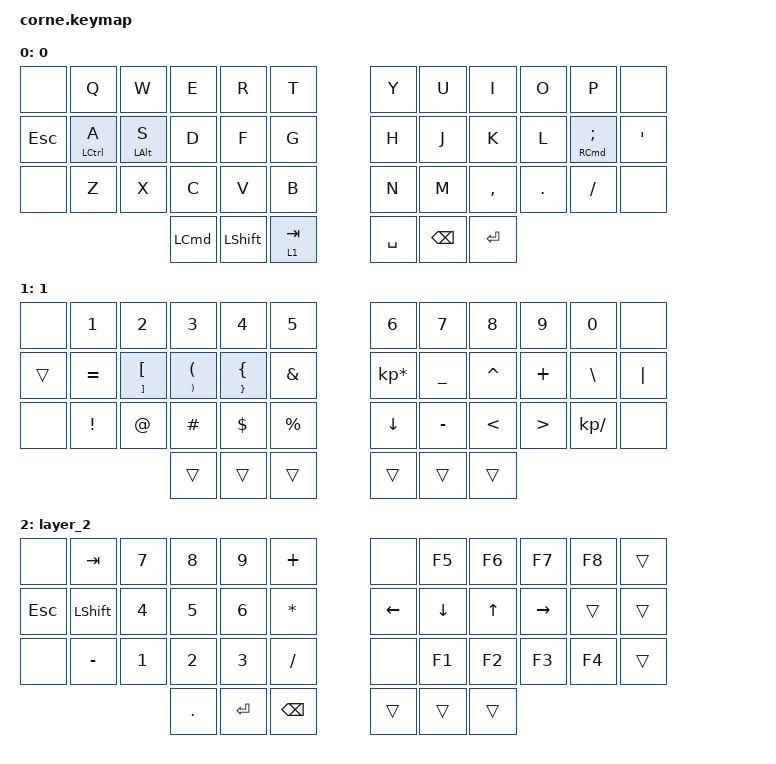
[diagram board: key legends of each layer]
/*
 * Copyright (c) 2020 The ZMK Contributors
 *
 * SPDX-License-Identifier: MIT
 */

#include <behaviors.dtsi>
#include <dt-bindings/zmk/keys.h>

/ {
    combos {
        compatible = "zmk,combos";

        leftBrace {
            bindings = <&kp LEFT_BRACE>;
            key-positions = <15 16>;
        };

        rightBrace {
            bindings = <&kp RIGHT_BRACE>;
            key-positions = <19 20>;
        };

        leftParenthesis {
            bindings = <&kp LEFT_PARENTHESIS>;
            key-positions = <15 14>;
        };

        rightParenthesis {
            bindings = <&kp RIGHT_PARENTHESIS>;
            key-positions = <20 21>;
        };

        leftBracket {
            bindings = <&kp LEFT_BRACKET>;
            key-positions = <13 14>;
        };

        rightBracket {
            bindings = <&kp RIGHT_BRACKET>;
            key-positions = <22 21>;
        };

        maximizeWindow {
            bindings = <&kp LC(LA(ENTER))>;
            key-positions = <1 2 3 4>;
        };

        leftTwoThirds {
            bindings = <&kp LC(LA(E))>;
            key-positions = <2 3 1>;
        };

        leftThird {
            bindings = <&kp LC(LA(D))>;
            key-positions = <1 2>;
        };

        rightTwoThirds {
            bindings = <&kp LC(LA(T))>;
            key-positions = <4 3 2>;
        };

        rightThird {
            bindings = <&kp LC(LA(G))>;
            key-positions = <3 4>;
        };

        leftHalf {
            bindings = <&kp LC(LA(LEFT_ARROW))>;
            key-positions = <25 26>;
        };

        rightHalf {
            bindings = <&kp LC(LA(RIGHT_ARROW))>;
            key-positions = <28 27>;
        };

        showDesktop {
            bindings = <&kp F11>;
            key-positions = <7 8 9 10>;
        };

        desktopLeft {
            bindings = <&kp LG(LEFT_ARROW)>;
            key-positions = <8 7>;
        };

        desktopRight {
            bindings = <&kp LG(RIGHT_ARROW)>;
            key-positions = <9 10>;
        };
    };

    behaviors {
        holdtap: holdtap {
            compatible = "zmk,behavior-hold-tap";
            label = "HOLDTAP";
            bindings = <&kp>, <&kp>;

            #binding-cells = <2>;
            tapping-term-ms = <200>;
            flavor = "tap-preferred";
        };

        layertap: layertap {
            compatible = "zmk,behavior-hold-tap";
            label = "LAYERTAP";
            #binding-cells = <2>;
            tapping-term-ms = <200>;
            flavor = "balanced";
            bindings = <&mo>, <&kp>;
        };

        longht: longht {
            compatible = "zmk,behavior-hold-tap";
            label = "LONGHT";
            bindings = <&kp>, <&kp>;

            #binding-cells = <2>;
            flavor = "balanced";
            tapping-term-ms = <400>;
        };
    };

    keymap {
        compatible = "zmk,keymap";

        base_layer {
            // -----------------------------------------------------------------------------------------
            // |  TAB |  Q  |  W  |  E  |  R  |  T  |   |  Y  |  U   |  I  |  O  |  P  | BKSP |
            // | CTRL |  A  |  S  |  D  |  F  |  G  |   |  H  |  J   |  K  |  L  |  ;  |  '   |
            // | SHFT |  Z  |  X  |  C  |  V  |  B  |   |  N  |  M   |  ,  |  .  |  /  | ESC  |
            //                    | GUI | LWR | SPC |   | ENT | RSE  | ALT |

            display-name = "0";
            bindings = <
&none    &kp Q                   &kp W               &kp E             &kp R           &kp T              &kp Y      &kp U          &kp I      &kp O    &kp P                            &none
&kp ESC  &longht LEFT_CONTROL A  &longht LEFT_ALT S  &kp D             &kp F           &kp G              &kp H      &kp J          &kp K      &kp L    &longht RIGHT_COMMAND SEMICOLON  &kp SINGLE_QUOTE
&none    &kp Z                   &kp X               &kp C             &kp V           &kp B              &kp N      &kp M          &kp COMMA  &kp DOT  &kp SLASH                        &none
                                                     &kp LEFT_COMMAND  &kp LEFT_SHIFT  &layertap 1 TAB    &kp SPACE  &kp BACKSPACE  &kp ENTER
            >;
        };

        layer_1 {
            // -----------------------------------------------------------------------------------------
            // |  TAB |  1  |  2  |  3  |  4  |  5  |   |  6  |  7  |  8  |  9  |  0  | BKSP |
            // | BTCLR| BT1 | BT2 | BT3 | BT4 | BT5 |   | LFT | DWN |  UP | RGT |     |      |
            // | SHFT |     |     |     |     |     |   |     |     |     |     |     |      |
            //                    | GUI |     | SPC |   | ENT |     | ALT |

            display-name = "1";
            bindings = <
&none   &kp N1           &kp N2                              &kp N3                                      &kp N4                          &kp N5           &kp N6           &kp N7          &kp N8         &kp N9            &kp N0         &none
&trans  &kp EQUAL        &longht RIGHT_BRACKET LEFT_BRACKET  &longht RIGHT_PARENTHESIS LEFT_PARENTHESIS  &longht RIGHT_BRACE LEFT_BRACE  &kp AMPERSAND    &kp KP_MULTIPLY  &kp UNDERSCORE  &kp CARET      &kp PLUS          &kp BACKSLASH  &kp PIPE
&none   &kp EXCLAMATION  &kp AT                              &kp HASH                                    &kp DOLLAR                      &kp PERCENT      &kp DOWN_ARROW   &kp MINUS       &kp LESS_THAN  &kp GREATER_THAN  &kp KP_SLASH   &none
                                                             &trans                                      &trans                          &trans           &trans           &trans          &trans
            >;
        };

        layer_2 {
            bindings = <
&none    &kp TAB         &kp N7  &kp N8   &kp N9   &kp PLUS        &none     &kp F5    &kp F6  &kp F7     &kp F8  &trans
&kp ESC  &kp LEFT_SHIFT  &kp N4  &kp N5   &kp N6   &kp ASTERISK    &kp LEFT  &kp DOWN  &kp UP  &kp RIGHT  &trans  &trans
&none    &kp MINUS       &kp N1  &kp N2   &kp N3   &kp SLASH       &none     &kp F1    &kp F2  &kp F3     &kp F4  &trans
                                 &kp DOT  &kp RET  &kp BSPC        &trans    &trans    &trans
            >;
        };
    };
};
